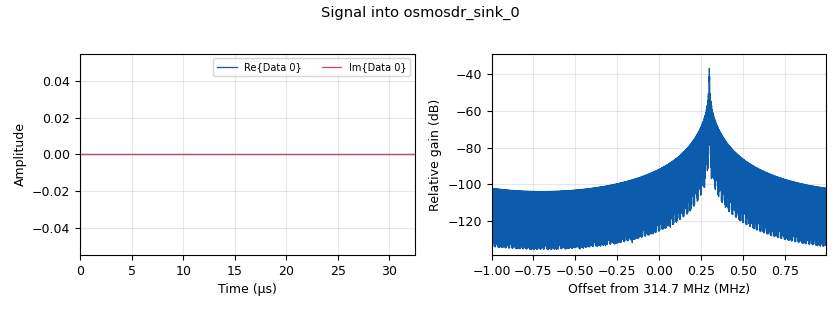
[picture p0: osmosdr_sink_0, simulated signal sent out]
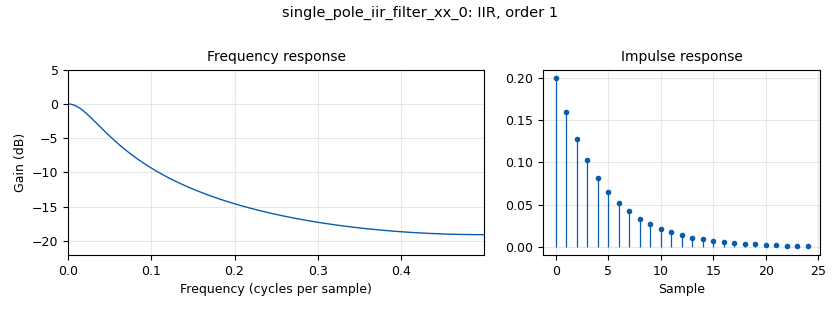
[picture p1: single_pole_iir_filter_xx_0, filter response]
options:
  parameters:
    generate_options: no_gui
    id: secplus_v2_tx
    output_language: python
    run_options: run
  states: {}

blocks:
- name: samp_rate
  id: variable
  parameters:
    value: 2e6
  states: {}
- name: seq
  id: variable
  parameters:
    value: '[0]*200 + secplus.encode_v2_manchester(rolling, fixed, None if data == -1 else data)*3 + [0]*200'
  states: {}
- name: analog_sig_source_x_0
  id: analog_sig_source_x
  parameters:
    amp: '0.9'
    freq: 300e3
    offset: '0'
    phase: '0'
    samp_rate: samp_rate
    type: complex
    waveform: analog.GR_COS_WAVE
  states: {}
- name: blocks_multiply_xx_0
  id: blocks_multiply_xx
  parameters:
    type: complex
  states: {}
- name: blocks_repeat_0
  id: blocks_repeat
  parameters:
    interp: '500'
    type: complex
  states: {}
- name: blocks_vector_source_x_0
  id: blocks_vector_source_x
  parameters:
    repeat: 'False'
    type: complex
    vector: seq
  states: {}
- name: data
  id: parameter
  parameters:
    label: Data
    type: intx
    value: '-1'
  states: {}
- name: fixed
  id: parameter
  parameters:
    label: Fixed code
    type: intx
    value: '1234567890'
  states: {}
- name: freq
  id: parameter
  parameters:
    label: Frequency
    short_id: f
    type: intx
    value: '315000000'
  states: {}
- name: osmosdr_sink_0
  id: osmosdr_sink
  parameters:
    args: ''
    bb_gain0: '0'
    freq0: freq - 300e3
    gain0: '0'
    if_gain0: '47'
    sample_rate: samp_rate
    sync: sync
    type: fc32
  states: {}
- name: rolling
  id: parameter
  parameters:
    label: Rolling code
    type: intx
    value: '123456789'
  states: {}
- name: secplus
  id: epy_module
  parameters:
    source_code: |
      #
      # Copyright 2016,2020-2023 Clayton Smith (argilo@gmail.com)
      #
      # This file is part of secplus.
      #
      # secplus is free software: you can redistribute it and/or modify
      # it under the terms of the GNU General Public License as published by
      # the Free Software Foundation, either version 3 of the License, or
      # (at your option) any later version.
      #
      # secplus is distributed in the hope that it will be useful,
      # but WITHOUT ANY WARRANTY; without even the implied warranty of
      # MERCHANTABILITY or FITNESS FOR A PARTICULAR PURPOSE.  See the
      # GNU General Public License for more details.
      #
      # You should have received a copy of the GNU General Public License
      # along with secplus.  If not, see <http://www.gnu.org/licenses/>.
      #

      """This module encodes and decodes Security+ and Security+ 2.0 rolling and fixed
      codes, provides utility functions to prepare on-off keying sequences for
      transmission, and pretty-prints the codes. It can be used to build stand-alone
      applications.
      """


      def encode(rolling, fixed):
          """Encode a Security+ payload into 40 payload symbols

          Arguments:
          rolling -- the rolling code
          fixed -- the fixed code

          Raises a ValueError if the rolling or fixed code is too large.
          """

          if rolling >= 2**32:
              raise ValueError("Rolling code must be less than 2^32")
          if fixed >= 3**20:
              raise ValueError("Fixed code must be less than 3^20")

          rolling = int(f"{rolling & 0xfffffffe:032b}"[::-1], 2)
          rolling_base3 = [0] * 20
          fixed_base3 = [0] * 20
          for i in range(19, -1, -1):
              rolling_base3[i] = rolling % 3
              rolling //= 3
              fixed_base3[i] = fixed % 3
              fixed //= 3
          code = []
          for i in range(20):
              if i in [0, 10]:
                  acc = 0
              acc += rolling_base3[i]
              code.append(rolling_base3[i])
              acc += fixed_base3[i]
              code.append(acc % 3)
          return code


      def decode(code):
          """Decode a Security+ transmission and return the rolling and fixed codes.

          Arguments:
          code -- a list containing the 40 payload symbols from a pair of packets
          """

          rolling = 0
          fixed = 0

          for i in range(0, 40, 2):
              if i in [0, 20]:
                  acc = 0

              digit = code[i]
              rolling = (rolling * 3) + digit
              acc += digit

              digit = (code[i+1] - acc) % 3
              fixed = (fixed * 3) + digit
              acc += digit

          rolling = int(f"{rolling:032b}"[::-1], 2)
          return rolling, fixed


      def _v2_calc_parity(fixed, data):
          data &= 0xffff0fff
          parity = (fixed >> 32) & 0xf
          for offset in range(0, 32, 4):
              parity ^= ((data >> offset) & 0xf)
          data |= (parity << 12)
          return data


      def _v2_check_parity(fixed, data):
          parity = (fixed >> 32) & 0xf
          for offset in range(0, 32, 4):
              parity ^= ((data >> offset) & 0xf)
          if parity != 0:
              raise ValueError("Parity bits are incorrect")


      def _encode_v2_rolling(rolling):
          rolling = int(f"{rolling:028b}"[::-1], 2)
          rolling_base3 = [0] * 18
          for i in range(17, -1, -1):
              rolling_base3[i] = rolling % 3
              rolling //= 3
          rolling1 = rolling_base3[14:18] + rolling_base3[6:10] + rolling_base3[1:2]
          rolling2 = rolling_base3[10:14] + rolling_base3[2:6] + rolling_base3[0:1]
          return rolling1, rolling2


      def _decode_v2_rolling(rolling1, rolling2):
          rolling_digits = rolling2[8:] + rolling1[8:]
          rolling_digits += rolling2[4:8] + rolling1[4:8]
          rolling_digits += rolling2[:4] + rolling1[:4]

          rolling = 0
          for digit in rolling_digits:
              rolling = (rolling * 3) + digit
          if rolling >= 2**28:
              raise ValueError("Rolling code was not in expected range")
          return int(f"{rolling:028b}"[::-1], 2)


      def _v2_combine_halves(rolling1, rolling2, fixed1, fixed2, data1, data2):
          rolling = _decode_v2_rolling(rolling1, rolling2)
          fixed = int("".join(str(bit) for bit in fixed1 + fixed2), 2)
          if data1 is None:
              data = None
          else:
              data = int("".join(str(bit) for bit in data1 + data2), 2)
              _v2_check_parity(fixed, data)
          return rolling, fixed, data


      _ORDER = {
          0b0000: (0, 2, 1),
          0b0001: (2, 0, 1),
          0b0010: (0, 1, 2),
          0b0100: (1, 2, 0),
          0b0101: (1, 0, 2),
          0b0110: (2, 1, 0),
          0b1000: (1, 2, 0),
          0b1001: (2, 1, 0),
          0b1010: (0, 1, 2),
      }

      _INVERT = {
          0b0000: (True, True, False),
          0b0001: (False, True, False),
          0b0010: (False, False, True),
          0b0100: (True, True, True),
          0b0101: (True, False, True),
          0b0110: (False, True, True),
          0b1000: (True, False, False),
          0b1001: (False, False, False),
          0b1010: (True, False, True),
      }


      def _v2_scramble(indicator, parts):
          order = _ORDER[(indicator[0] << 3) | (indicator[1] << 2) | (indicator[2] << 1) | indicator[3]]
          invert = _INVERT[(indicator[4] << 3) | (indicator[5] << 2) | (indicator[6] << 1) | indicator[7]]

          parts_permuted = [parts[order[i]] for i in range(3)]
          for i in range(3):
              if invert[i]:
                  parts_permuted[i] = [bit ^ 1 for bit in parts_permuted[i]]

          payload = []
          for i in range(len(parts_permuted[0])):
              payload += [parts_permuted[0][i], parts_permuted[1][i], parts_permuted[2][i]]
          return payload


      def _v2_unscramble(indicator, payload):
          try:
              order = _ORDER[(indicator[0] << 3) | (indicator[1] << 2) | (indicator[2] << 1) | indicator[3]]
              invert = _INVERT[(indicator[4] << 3) | (indicator[5] << 2) | (indicator[6] << 1) | indicator[7]]
          except KeyError:
              raise ValueError("Illegal value for ternary bit")

          parts_permuted = [payload[0::3], payload[1::3], payload[2::3]]
          for i in range(3):
              if invert[i]:
                  parts_permuted[i] = [bit ^ 1 for bit in parts_permuted[i]]

          parts = [[], [], []]
          for i in range(3):
              parts[order[i]] = parts_permuted[i]

          return parts


      def _encode_v2_half_parts(rolling, fixed, data):
          indicator = []
          for digit in rolling[:4]:
              indicator.append(digit >> 1)
              indicator.append(digit & 1)

          parts = [fixed[:10], fixed[10:], []]
          for digit in rolling[4:]:
              parts[2].append(digit >> 1)
              parts[2].append(digit & 1)

          if data is None:
              packet_type = 0
          if data is not None:
              packet_type = 1
              parts[0] += data[:8]
              parts[1] += data[8:]
              for digit in rolling[:4]:
                  parts[2].append(digit >> 1)
                  parts[2].append(digit & 1)

          payload = _v2_scramble(indicator, parts)

          return packet_type, indicator, payload


      def _decode_v2_half_parts(packet_type, indicator, payload):
          if packet_type == 0:
              payload_length = 30
          elif packet_type == 1:
              payload_length = 54
          elif packet_type == 2:
              raise ValueError("Unsupported packet type")
          else:
              raise ValueError("Invalid packet type")

          if len(payload) != payload_length:
              raise ValueError("Incorrect payload length")

          parts = _v2_unscramble(indicator, payload)

          rolling = []
          for i in range(0, len(indicator), 2):
              rolling.append((indicator[i] << 1) | indicator[i+1])
          for i in range(0, len(parts[2]), 2):
              rolling.append((parts[2][i] << 1) | parts[2][i+1])
          if 3 in rolling:
              raise ValueError("Illegal value for ternary bit")

          fixed = parts[0][:10] + parts[1][:10]

          if packet_type == 0:
              data = None
          elif packet_type == 1:
              if rolling[:4] != rolling[-4:]:
                  raise ValueError("Last four ternary bits do not repeat first four")
              rolling = rolling[:-4]
              data = parts[0][10:] + parts[1][10:]

          return rolling, fixed, data


      def _v2_check_limits(rolling, fixed, data):
          if rolling >= 2**28:
              raise ValueError("Rolling code must be less than 2^28")
          if fixed >= 2**40:
              raise ValueError("Fixed code must be less than 2^40")
          if data is not None:
              if data >= 2**32:
                  raise ValueError("Data must be less than 2^32")


      def _encode_v2_half(rolling, fixed, data):
          packet_type, indicator, payload = _encode_v2_half_parts(rolling, fixed, data)
          packet_type_bits = [packet_type >> 1, packet_type & 1]
          return packet_type_bits + indicator + payload


      def encode_v2(rolling, fixed, data=None):
          """Encode a Security+ 2.0 payload into 80 or 128 bits

          Arguments:
          rolling -- the rolling code (28 bits)
          fixed -- the fixed code (40 bits)
          data -- the data (32 bits, optional)

          Raises a ValueError if the rolling or fixed code is too large.
          """

          _v2_check_limits(rolling, fixed, data)

          rolling1, rolling2 = _encode_v2_rolling(rolling)

          fixed_bits = [int(bit) for bit in f"{fixed:040b}"]
          fixed1 = fixed_bits[:20]
          fixed2 = fixed_bits[20:]

          if data is None:
              data1 = None
              data2 = None
          else:
              data = _v2_calc_parity(fixed, data)
              data_bits = [int(bit) for bit in f"{data:032b}"]
              data1 = data_bits[:16]
              data2 = data_bits[16:]

          return _encode_v2_half(rolling1, fixed1, data1) + _encode_v2_half(rolling2, fixed2, data2)


      def _decode_v2_half(code):
          packet_type = (code[0] << 1) | code[1]
          indicator = code[2:10]
          payload = code[10:]
          return _decode_v2_half_parts(packet_type, indicator, payload)


      def decode_v2(code):
          """Decode a Security+ 2.0 transmission and return the rolling code, fixed
          code, and data.

          Arguments:
          code -- a list containing the 80 or 128 payload bits from a pair of packets

          Raises a ValueError if the payload bits are invalid for any reason.
          """
          half_len = len(code) // 2
          rolling1, fixed1, data1 = _decode_v2_half(code[:half_len])
          rolling2, fixed2, data2 = _decode_v2_half(code[half_len:])
          return _v2_combine_halves(rolling1, rolling2, fixed1, fixed2, data1, data2)


      def _encode_wireline_half(rolling, fixed, data):
          _, indicator, payload = _encode_v2_half_parts(rolling, fixed, data)
          return indicator + [0, 0] + payload


      def encode_wireline(rolling, fixed, data):
          """Encode a Security+ 2.0 wireline payload into 19 bytes

          Arguments:
          rolling -- the rolling code (28 bits)
          fixed -- the fixed code (40 bits)
          data -- the data (32 bits)

          Raises a ValueError if the rolling code, fixed code, or data is too large.
          """

          _v2_check_limits(rolling, fixed, data)

          rolling1, rolling2 = _encode_v2_rolling(rolling)

          fixed_bits = [int(bit) for bit in f"{fixed:040b}"]
          fixed1 = fixed_bits[:20]
          fixed2 = fixed_bits[20:]

          data = _v2_calc_parity(fixed, data)
          data_bits = [int(bit) for bit in f"{data:032b}"]
          data1 = data_bits[:16]
          data2 = data_bits[16:]

          payload_bits = _encode_wireline_half(rolling1, fixed1, data1) + _encode_wireline_half(rolling2, fixed2, data2)
          packet = [0x55, 0x01, 0x00]
          for n in range(len(payload_bits) // 8):
              byte = 0
              for bit in range(8):
                  byte |= payload_bits[n * 8 + bit] << (7 - bit)
              packet.append(byte)
          return bytes(packet)


      def _decode_wireline_half(code):
          if code[8:10] != [0, 0]:
              raise ValueError("Unexpected values for bits 8 and 9")
          indicator = code[:8]
          payload = code[10:]
          return _decode_v2_half_parts(1, indicator, payload)


      def decode_wireline(code):
          """Decode a Security+ 2.0 wireline transmission and return the rolling code,
          fixed code, and data.

          Arguments:
          code -- a bytes object with the 19 bytes of a serial packet

          Raises a ValueError if the payload bytes are invalid for any reason.
          """
          if not isinstance(code, bytes):
              raise ValueError("Input must be bytes")
          if len(code) != 19:
              raise ValueError("Input must be 19 bytes long")
          if code[:3] != bytes([0x55, 0x01, 0x00]):
              raise ValueError("First three bytes must be 0x55, 0x01, 0x00")

          code_bits = []
          for b in code[3:]:
              for bit in range(7, -1, -1):
                  code_bits.append((b >> bit) & 1)

          half_len = len(code_bits) // 2
          rolling1, fixed1, data1 = _decode_wireline_half(code_bits[:half_len])
          rolling2, fixed2, data2 = _decode_wireline_half(code_bits[half_len:])
          return _v2_combine_halves(rolling1, rolling2, fixed1, fixed2, data1, data2)


      _OOK = {
          -1: [0, 0, 0, 0],
          0: [0, 0, 0, 1],
          1: [0, 0, 1, 1],
          2: [0, 1, 1, 1]
      }


      def encode_ook(rolling, fixed, fast=True):
          """Encode a Security+ payload and produce an OOK stream for transmission

          The resulting pulses should be transmitted at a baud rate of 2000. That is,
          each 0 (off) or 1 (on) should be 0.5 ms long.

          Arguments:
          rolling -- the rolling code
          fixed -- the fixed code
          fast -- when True, shortens the time between packets
          """

          code = encode(rolling, fixed)
          blank = [-1] * (10 if fast else 29)
          code = [0] + code[0:20] + blank + [2] + code[20:40] + blank
          ook_bits = []
          for symbol in code:
              ook_bits += _OOK[symbol]
          return ook_bits


      def _manchester(code):
          output = []
          for bit in code:
              if bit == 0:
                  output += [1, 0]
              else:
                  output += [0, 1]
          return output


      def encode_v2_manchester(rolling, fixed, data=None, fast=True):
          """Encode a Security+ 2.0 payload and produce a Manchester stream for transmission

          The resulting pulses should be transmitted at a baud rate of 4000. That is,
          each 0 (off) or 1 (on) should be 0.25 ms long.

          Arguments:
          rolling -- the rolling code (28 bits)
          fixed -- the fixed code (40 bits)
          data -- the data (32 bits, optional)
          fast -- when True, shortens the time between packets
          """

          preamble = [0, 0, 0, 0, 0, 0, 0, 0, 0, 0, 0, 0, 0, 0, 0, 0, 1, 1, 1, 1]
          code = encode_v2(rolling, fixed, data)
          half_len = len(code) // 2
          packet1 = preamble + [0, 0] + code[:half_len]
          packet2 = preamble + [0, 1] + code[half_len:]
          blank = [0] * (33 if fast else 400 - 2 * len(packet1))

          return _manchester(packet1) + blank + _manchester(packet2) + blank


      def pretty(rolling, fixed):
          """Pretty-print a Security+ rolling and fixed code"""
          return f"Security+:  rolling={rolling}  fixed={fixed}  ({_fixed_pretty(fixed)})"


      def _fixed_pretty(fixed):
          switch_id = fixed % 3
          id0 = (fixed // 3) % 3
          id1 = (fixed // 3**2) % 3

          result = f"id1={id1} id0={id0} switch={switch_id}"

          if id1 == 0:
              pad_id = (fixed // 3**3) % (3**7)
              result += f" pad_id={pad_id}"
              pin = (fixed // 3**10) % (3**9)
              if 0 <= pin <= 9999:
                  result += f" pin={pin:04}"
              elif 10000 <= pin <= 11029:
                  result += " pin=enter"
              pin_suffix = (fixed // 3**19) % 3
              if pin_suffix == 1:
                  result += "#"
              elif pin_suffix == 2:
                  result += "*"
          else:
              remote_id = (fixed // 3**3)
              result += f" remote_id={remote_id}"
              if switch_id == 0:
                  button = "middle"
              elif switch_id == 1:
                  button = "left"
              else:
                  button = "right"
              result += f" button={button}"

          return result


      def pretty_v2(rolling, fixed, data=None):
          """Pretty-print a Security+ 2.0 rolling code, fixed code, and data"""
          pretty = f"Security+ 2.0:  rolling=0x{rolling:07x}  fixed=0x{fixed:010x}  ({_fixed_pretty_v2(fixed)})"
          if data is not None:
              pretty += f"  data=0x{data:08x}  ({_data_pretty_v2(fixed, data)})"
          return pretty


      def _fixed_pretty_v2(fixed):
          button = (fixed >> 32) & 0xf
          remote_id = fixed & 0xf0ffffffff
          return f"button={button} remote_id=0x{remote_id:010x}"


      def _data_pretty_v2(fixed, data):
          button = (fixed >> 32) & 0xf

          byte1 = data >> 24
          byte2 = (data >> 16) & 0xff
          pin = (byte2 << 8) | byte1

          tail = data & 0xfff

          if button == 3:
              return f"pin=enter tail=0x{tail:03x}"
          else:
              if button == 1:
                  suffix = "*"
              elif button == 2:
                  suffix = "#"
              else:
                  suffix = ""

              return f"pin={pin:04}{suffix} tail=0x{tail:03x}"


      _WIRELINE_COMMANDS = {
          # sent by opener
          0x081: "status",
          0x084: "unknown_1",
          0x085: "unknown_2",
          0x0a1: "pair_3_resp",
          0x284: "motor_on",
          0x393: "learn_3_resp",
          0x401: "pair_2_resp",
          0x48c: "openings",

          # sent by switch
          0x080: "get_status",
          0x0a0: "pair_3",
          0x181: "learn_2",
          0x18c: "lock",
          0x280: "open",
          0x281: "light",
          0x285: "motion",
          0x391: "learn_1",
          0x392: "learn_3",
          0x400: "pair_2",
          0x48b: "get_openings",
      }

      _DOOR_STATUS = {
          1: "open",
          2: "closed",
          3: "stopped",
          4: "opening",
          5: "closing",
      }


      def pretty_wireline(rolling, fixed, data):
          cmd = ((fixed >> 24) & 0xf00) | (data & 0xff)
          command_name = _WIRELINE_COMMANDS.get(cmd, "<unknown>")

          nibble = (data >> 8) & 0xf
          byte1 = (data >> 16) & 0xff
          byte2 = (data >> 24) & 0xff

          msg = ""
          if cmd == 0x080:
              msg = f"byte2={byte2}"
          elif cmd == 0x081:
              door = _DOOR_STATUS.get(nibble, "<unknown>")
              learn = (byte2 >> 5) & 1
              unk1 = (byte2 >> 4) & 1
              unk2 = (byte2 >> 2) & 1
              light = (byte2 >> 1) & 1
              lock = byte2 & 1
              blocked = (byte1 >> 6) & 1
              unk3 = (byte1 >> 5) & 1
              msg = f"door={door} learn={learn} light={light} lock={lock} blocked={blocked^1} unk1={unk1} unk2={unk2} unk3={unk3}"
          elif cmd == 0x0a1:
              msg = f"byte1={byte1}"
          elif cmd == 0x181:
              msg = f"nibble={nibble}"
          elif cmd == 0x280:
              msg = "pressed" if byte1 == 1 else "released"
          elif cmd == 0x391:
              msg = f"nibble={nibble}"
          elif cmd == 0x393:
              msg = f"nibble={nibble}"
          elif cmd == 0x48c:
              openings = (byte1 << 8) | byte2
              msg = f"number={openings}"

          return f"rolling=0x{rolling:07x} fixed=0x{fixed:010x} data=0x{data:08x} cmd=0x{cmd:03x} {command_name} {msg}".strip()
  states: {}
- name: single_pole_iir_filter_xx_0
  id: single_pole_iir_filter_xx
  parameters:
    alpha: '0.2'
    type: complex
  states: {}

connections:
- [analog_sig_source_x_0, '0', blocks_multiply_xx_0, '1']
- [blocks_multiply_xx_0, '0', osmosdr_sink_0, '0']
- [blocks_repeat_0, '0', single_pole_iir_filter_xx_0, '0']
- [blocks_vector_source_x_0, '0', blocks_repeat_0, '0']
- [single_pole_iir_filter_xx_0, '0', blocks_multiply_xx_0, '0']

metadata:
  file_format: 1
  grc_version: 3.10.9.2
